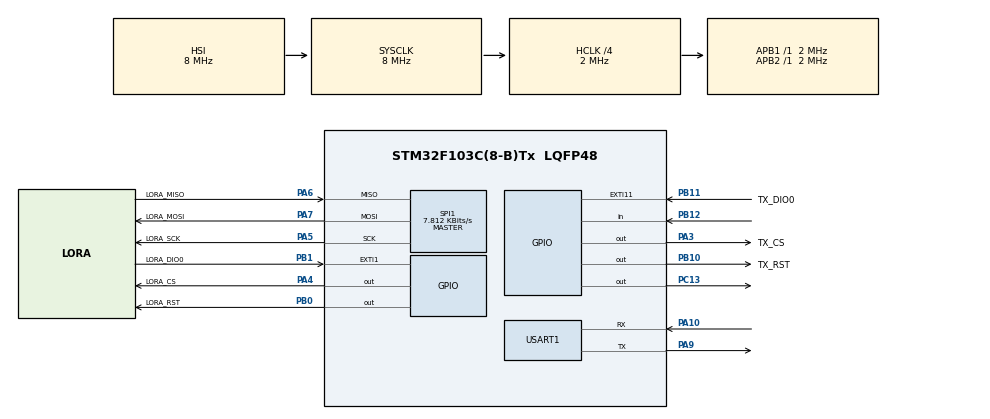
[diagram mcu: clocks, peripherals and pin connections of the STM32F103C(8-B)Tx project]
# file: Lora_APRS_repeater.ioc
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ADC1.Channel-1\#ChannelRegularConversion=ADC_CHANNEL_VREFINT
ADC1.EnableAnalogWatchDog=false
ADC1.NbrOfConversion=1
ADC1.NbrOfConversionFlag=1
ADC1.Rank-1\#ChannelRegularConversion=1
ADC1.SamplingTime-1\#ChannelRegularConversion=ADC_SAMPLETIME_239CYCLES_5
ADC1.master=1
IWDG.Prescaler=IWDG_PRESCALER_64
IWDG.Reload=2500
Mcu.Family=STM32F1
Mcu.Name=STM32F103C(8-B)Tx
Mcu.Package=LQFP48
NVIC.EXTI1_IRQn=true\:5\:0\:true\:false\:true\:true\:true\:true
NVIC.PriorityGroup=NVIC_PRIORITYGROUP_4
PA10.Mode=Asynchronous
PA10.Signal=USART1_RX
PA3.GPIO_Label=TX_CS
PA3.GPIO_Speed=GPIO_SPEED_FREQ_HIGH
PA3.PinState=GPIO_PIN_SET
PA3.Signal=GPIO_Output
PA4.GPIO_Label=LORA_CS
PA4.GPIO_PuPd=GPIO_NOPULL
PA4.GPIO_Speed=GPIO_SPEED_FREQ_HIGH
PA4.PinState=GPIO_PIN_SET
PA4.Signal=GPIO_Output
PA5.GPIO_Label=LORA_SCK
PA5.Mode=Full_Duplex_Master
PA5.Signal=SPI1_SCK
PA6.GPIO_Label=LORA_MISO
PA6.Mode=Full_Duplex_Master
PA6.Signal=SPI1_MISO
PA7.GPIO_Label=LORA_MOSI
PA7.Mode=Full_Duplex_Master
PA7.Signal=SPI1_MOSI
PA9.Mode=Asynchronous
PA9.Signal=USART1_TX
PB0.GPIO_Label=LORA_RST
PB0.PinState=GPIO_PIN_SET
PB0.Signal=GPIO_Output
PB1.GPIO_Label=LORA_DIO0
PB1.GPIO_ModeDefaultEXTI=GPIO_MODE_IT_RISING
PB1.Signal=GPXTI1
PB10.GPIO_Label=TX_RST
PB10.PinState=GPIO_PIN_SET
PB10.Signal=GPIO_Output
PB11.GPIO_Label=TX_DIO0
PB11.Signal=GPXTI11
PB12.GPIO_PuPd=GPIO_PULLUP
PB12.Signal=GPIO_Input
PC13-TAMPER-RTC.Signal=GPIO_Output
ProjectManager.HeapSize=0x200
ProjectManager.StackSize=0x400
ProjectManager.TargetToolchain=STM32CubeIDE
RCC.AHBCLKDivider=RCC_SYSCLK_DIV4
RCC.AHBFreq_Value=2000000
RCC.APB1Freq_Value=2000000
RCC.APB1TimFreq_Value=2000000
RCC.APB2Freq_Value=2000000
RCC.APB2TimFreq_Value=2000000
RCC.HCLKFreq_Value=2000000
RCC.SYSCLKFreq_VALUE=8000000
RCC.USBFreq_Value=8000000
RTC.Format=RTC_FORMAT_BIN
RTC.OutPut=RTC_OUTPUTSOURCE_NONE
SPI1.BaudRatePrescaler=SPI_BAUDRATEPRESCALER_256
SPI1.CalculateBaudRate=7.812 KBits/s
SPI1.Direction=SPI_DIRECTION_2LINES
SPI1.Mode=SPI_MODE_MASTER
SPI1.VirtualType=VM_MASTER
USART1.VirtualMode=VM_ASYNC
VP_ADC1_Vref_Input.Mode=IN-Vrefint
VP_IWDG_VS_IWDG.Mode=IWDG_Activate
VP_RTC_No_RTC_Output.Mode=RTC_OUT_NO
VP_RTC_VS_RTC_Activate.Mode=RTC_Enabled
VP_SYS_VS_ND.Mode=No_Debug
board=custom

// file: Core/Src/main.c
/* USER CODE BEGIN Header */
/**
  ******************************************************************************
  * @file           : main.c
  * @brief          : Main program body
  ******************************************************************************
  * @attention
  *
  * Copyright (c) 2026 STMicroelectronics.
  * All rights reserved.
  *
  * This software is licensed under terms that can be found in the LICENSE file
  * in the root directory of this software component.
  * If no LICENSE file comes with this software, it is provided AS-IS.
  *
  ******************************************************************************
  */
/* USER CODE END Header */
#include "main.h"

/* USER CODE BEGIN Includes */
#include <stdio.h>
#include <string.h>
#include <stdarg.h>
#include <stdint.h>
/* USER CODE END Includes */

ADC_HandleTypeDef hadc1;

IWDG_HandleTypeDef hiwdg;

RTC_HandleTypeDef hrtc;

SPI_HandleTypeDef hspi1;

UART_HandleTypeDef huart1;

/* USER CODE BEGIN PV */
// --- KONFIGURACJA SPRZĘTOWA (Hardcoded dla pewności) ---
// RX Module (RFM96) - podłączony do SPI1
#define RX_CS_PORT    GPIOA
#define RX_CS_PIN     GPIO_PIN_4
#define RX_RST_PORT   GPIOB
#define RX_RST_PIN    GPIO_PIN_0

// TX Module (RFM96) - podłączony do SPI1
#define TX_CS_PORT    GPIOA
#define TX_CS_PIN     GPIO_PIN_3
#define TX_RST_PORT   GPIOB
#define TX_RST_PIN    GPIO_PIN_10

// Debug & LED
#define DEBUG_PIN_PORT GPIOB
#define DEBUG_PIN      GPIO_PIN_12 // Zmiana na PB12 zgodnie z MX_GPIO_Init
#define LED_PORT       GPIOC
#define LED_PIN        GPIO_PIN_13

// --- PARAMETRY LORA ---
#define LORA_RX_FREQ    434855000
#define LORA_TX_FREQ    434955000
#define LORA_SF         9
#define LORA_BW_IDX     7         		// 125 kHz
#define LORA_CR         3         		// 4/7
#define TELEMETRY_INTERVAL 3600000 		// 1h
#define APRS_CALLSIGN   "SP7FM-1"
#define APRS_COORDS     "!5144.22N/01934.44E"

// --- SYSTEM ---
#define QUEUE_SIZE 5
#define MAX_PKT_LEN 256

typedef struct {
    uint8_t data[MAX_PKT_LEN];
    uint8_t len;
    uint8_t tx_counter;
} LoRaPacket;

uint16_t tx_reset_counter = 0;
uint32_t lastRebootTick = 0; 	// Przechowuje czas ostatniego restartu/startu
uint8_t reset_time = 6;     	// Co ilę godzin robić restart

LoRaPacket txQueue[QUEUE_SIZE];
uint8_t queueHead = 0;
uint8_t queueTail = 0;

uint32_t lastTelemetryTime = 0;
volatile uint8_t packetReceivedFlag = 0;

// Struktura pomocnicza modułu
typedef struct {
    GPIO_TypeDef* CS_Port;
    uint16_t      CS_Pin;
    GPIO_TypeDef* RST_Port;
    uint16_t      RST_Pin;
    uint32_t      Frequency;
} LoRa_Module;

LoRa_Module loraRX = { RX_CS_PORT, RX_CS_PIN, RX_RST_PORT, RX_RST_PIN, LORA_RX_FREQ };
LoRa_Module loraTX = { TX_CS_PORT, TX_CS_PIN, TX_RST_PORT, TX_RST_PIN, LORA_TX_FREQ };

/* USER CODE END PV */

void SystemClock_Config(void);
static void MX_GPIO_Init(void);
static void MX_SPI1_Init(void);
static void MX_USART1_UART_Init(void);
static void MX_ADC1_Init(void);
static void MX_IWDG_Init(void);
static void MX_RTC_Init(void);
/* USER CODE BEGIN PFP */
void LoRa_Init(LoRa_Module* mod);
void LoRa_SetMode(LoRa_Module* mod, uint8_t mode);
uint8_t LoRa_Send(LoRa_Module* mod, uint8_t* data, uint8_t len);
uint8_t LoRa_Receive(LoRa_Module* mod, uint8_t* buffer);
void Queue_Push(uint8_t* data, uint8_t len, uint8_t tx_counter);
int Queue_Pop(uint8_t* buffer, uint8_t* out_tx_counter);
void SendTelemetry(void);
void DebugPrint(const char *format, ...);
float GetInternalVoltage(void);
/* USER CODE END PFP */

/* USER CODE BEGIN 0 */

// Rejestry SX1278
#define REG_FIFO 0x00
#define REG_OP_MODE 0x01
#define REG_FRF_MSB 0x06
#define REG_FRF_MID 0x07
#define REG_FRF_LSB 0x08
#define REG_PA_CONFIG 0x09
#define REG_LNA 0x0C
#define REG_FIFO_ADDR_PTR 0x0D
#define REG_FIFO_TX_BASE_ADDR 0x0E
#define REG_FIFO_RX_BASE_ADDR 0x0F
#define REG_FIFO_RX_CURRENT_ADDR 0x10
#define REG_IRQ_FLAGS 0x12
#define REG_RX_NB_BYTES 0x13
#define REG_MODEM_CONFIG_1 0x1D
#define REG_MODEM_CONFIG_2 0x1E
#define REG_DIO_MAPPING_1 0x40

// Tryby pracy
#define MODE_LONG_RANGE_MODE 0x80
#define MODE_SLEEP 0x00
#define MODE_STDBY 0x01
#define MODE_TX 0x03
#define MODE_RX_CONTINUOUS 0x05

uint8_t LoRa_ReadReg(LoRa_Module* mod, uint8_t addr) {
    uint8_t txByte = addr & 0x7F;
    uint8_t rxByte = 0;
    HAL_GPIO_WritePin(mod->CS_Port, mod->CS_Pin, GPIO_PIN_RESET);
    HAL_SPI_Transmit(&hspi1, &txByte, 1, 100);
    HAL_SPI_Receive(&hspi1, &rxByte, 1, 100);
    HAL_GPIO_WritePin(mod->CS_Port, mod->CS_Pin, GPIO_PIN_SET);
    return rxByte;
}

void LoRa_WriteReg(LoRa_Module* mod, uint8_t addr, uint8_t val) {
    uint8_t data[2] = { addr | 0x80, val };
    HAL_GPIO_WritePin(mod->CS_Port, mod->CS_Pin, GPIO_PIN_RESET);
    HAL_SPI_Transmit(&hspi1, data, 2, 100);
    HAL_GPIO_WritePin(mod->CS_Port, mod->CS_Pin, GPIO_PIN_SET);
}

void LoRa_Init(LoRa_Module* mod) {
    // 0. Upewnij się, że CS jest wysoki przed startem
    HAL_GPIO_WritePin(mod->CS_Port, mod->CS_Pin, GPIO_PIN_SET);

    // 1. Reset sprzętowy (Hardware Reset)
    HAL_GPIO_WritePin(mod->RST_Port, mod->RST_Pin, GPIO_PIN_RESET);
    HAL_Delay(15); // Zwiększono nieco dla pewności stabilizacji napięcia
    HAL_GPIO_WritePin(mod->RST_Port, mod->RST_Pin, GPIO_PIN_SET);
    HAL_Delay(15);

    // 2. Wejście w tryb Sleep, aby odblokować dostęp do rejestrów LongRangeMode
    LoRa_SetMode(mod, MODE_SLEEP);
    LoRa_WriteReg(mod, REG_OP_MODE, MODE_LONG_RANGE_MODE | MODE_SLEEP);
    HAL_Delay(5);

    // 3. Konfiguracja częstotliwości (FRF)
    uint64_t frf = ((uint64_t)mod->Frequency << 19) / 32000000;
    LoRa_WriteReg(mod, REG_FRF_MSB, (uint8_t)(frf >> 16));
    LoRa_WriteReg(mod, REG_FRF_MID, (uint8_t)(frf >> 8)); // Użycie nazwy MID zamiast MSB+1
    LoRa_WriteReg(mod, REG_FRF_LSB, (uint8_t)(frf >> 0));

    // 4. Konfiguracja Modemu (BW, CR, SF)
    // BW=125kHz, CR=4/7, Explicit Header
    uint8_t config1 = (7 << 4) | (LORA_CR << 1);
    LoRa_WriteReg(mod, REG_MODEM_CONFIG_1, config1);

    // SF=9, CRC ON (0x04)
    LoRa_WriteReg(mod, REG_MODEM_CONFIG_2, (LORA_SF << 4) | 0x04);

    // 5. Konfiguracja mocy i wzmocnienia (LNA)
    if (mod->CS_Pin == RX_CS_PIN) { // Jeśli to moduł odbiorczy
        // LNA Gain: Max gain, Boost on (0x23 lub 0x20 | 0x03)
        LoRa_WriteReg(mod, REG_LNA, 0x23);
    } else { // Jeśli to nadajnik
    	LoRa_WriteReg(mod, 0x0B, 0x2B); // OCP (Over Current Protection) ustawione na 100mA
    	LoRa_WriteReg(mod, 0x4D, 0x84);	// 0x84 to tryb domyślny (do 17 dBm)
    									// 0x87 to tryb High Power (20 dBm)
    	// Max Power: PA_BOOST pin, 17dBm (0x8F) lub więcej przy PA_DAC 0xFF - pełna moc 100mW - 20dBm
    	LoRa_WriteReg(mod, REG_PA_CONFIG, 0x8F);
    }

    // 6. Konfiguracja FIFO
    LoRa_WriteReg(mod, REG_FIFO_TX_BASE_ADDR, 0);
    LoRa_WriteReg(mod, REG_FIFO_RX_BASE_ADDR, 0);

    // 7. Przejście do Standby (gotowość do pracy)
    LoRa_SetMode(mod, MODE_STDBY);
    HAL_Delay(5);

    DebugPrint("LORA: Init OK for CS Pin %d\r\n", mod->CS_Pin);
}

void LoRa_SetMode(LoRa_Module* mod, uint8_t mode) {
    LoRa_WriteReg(mod, REG_OP_MODE, MODE_LONG_RANGE_MODE | mode);
}

uint8_t LoRa_Send(LoRa_Module* mod, uint8_t* data, uint8_t len) {
    // 1. Wybudzamy radio (przejście ze SLEEP do STDBY)
    LoRa_SetMode(mod, MODE_STDBY);

    // !!! WAŻNE: Dajemy czas na ustabilizowanie się oscylatora (Warm-up)
    // Bez tego zapis do FIFO może się nie udać zaraz po wybudzeniu.
    HAL_Delay(2);

    // 2. Wypełniamy bufor
    LoRa_WriteReg(mod, REG_FIFO_ADDR_PTR, 0);
    for(int i=0; i<len; i++) {
        LoRa_WriteReg(mod, REG_FIFO, data[i]);
    }

    // 3. Rozpoczynamy nadawanie
    LoRa_WriteReg(mod, 0x22, len);
    LoRa_SetMode(mod, MODE_TX);

    // 4. Czekamy na koniec TX
    uint32_t start = HAL_GetTick();
    uint8_t tx_success = 0;
//    while((LoRa_ReadReg(mod, REG_IRQ_FLAGS) & 0x08) == 0) {
//        if(HAL_GetTick() - start > 2000) break;
//    }
    while(HAL_GetTick() - start < 2000) { // Timeout 2 sekundy
    	if(LoRa_ReadReg(mod, REG_IRQ_FLAGS) & 0x08) {
    		tx_success = 1; // Znaleziono flagę TxDone!
    		break;
		}
	}

    // 5. Czyścimy flagi
    LoRa_WriteReg(mod, REG_IRQ_FLAGS, 0xFF);

    // 6. Idziemy spać zamiast czuwać (zmiana STDBY -> SLEEP)
    LoRa_SetMode(mod, MODE_SLEEP);

    return tx_success; // Zwracamy wynik
}

uint8_t LoRa_Receive(LoRa_Module* mod, uint8_t* buffer) {
    uint8_t irq = LoRa_ReadReg(mod, REG_IRQ_FLAGS);
    if(irq & 0x40) { // RxDone
        if(!(irq & 0x20)) { // CRC OK
            uint8_t len = LoRa_ReadReg(mod, REG_RX_NB_BYTES);
            uint8_t currentAddr = LoRa_ReadReg(mod, REG_FIFO_RX_CURRENT_ADDR);
            LoRa_WriteReg(mod, REG_FIFO_ADDR_PTR, currentAddr);
            for(int i=0; i<len; i++) {
                buffer[i] = LoRa_ReadReg(mod, REG_FIFO);
            }
            LoRa_WriteReg(mod, REG_IRQ_FLAGS, 0xFF);
            return len;
        }
    }
    LoRa_WriteReg(mod, REG_IRQ_FLAGS, 0xFF);
    return 0;
}

void DebugPrint(const char *format, ...) {
    // Debug aktywny gdy PB12 zwarty do masy
    if(HAL_GPIO_ReadPin(DEBUG_PIN_PORT, DEBUG_PIN) == GPIO_PIN_RESET) {
        char buffer[128];
        va_list args;
        va_start(args, format);
        vsnprintf(buffer, sizeof(buffer), format, args);
        va_end(args);
        HAL_UART_Transmit(&huart1, (uint8_t*)buffer, strlen(buffer), 100);
    }
}

void Queue_Push(uint8_t* data, uint8_t len, uint8_t tx_counter) {
    uint8_t nextHead = (queueHead + 1) % QUEUE_SIZE;
    if(nextHead != queueTail) {
        memcpy(txQueue[queueHead].data, data, len);
        txQueue[queueHead].len = len;
        txQueue[queueHead].tx_counter = tx_counter;
        queueHead = nextHead;
        DebugPrint("QUEUE: Package added (%d B)\r\n", len);
    } else {
        DebugPrint("QUEUE: FULL!\r\n");
    }
}

int Queue_Pop(uint8_t* buffer, uint8_t* out_tx_counter) {
    if(queueHead == queueTail) return 0;

    int len = txQueue[queueTail].len;
    memcpy(buffer, txQueue[queueTail].data, len);

    // 2. Przypisujemy licznik do zmiennej wyjściowej
    if(out_tx_counter != NULL) {
        *out_tx_counter = txQueue[queueTail].tx_counter;
    }

    queueTail = (queueTail + 1) % QUEUE_SIZE;
    return len;
}

float GetInternalVoltage(void) {
    HAL_ADC_Start(&hadc1);
    if (HAL_ADC_PollForConversion(&hadc1, 100) == HAL_OK) {
        uint32_t adcVal = HAL_ADC_GetValue(&hadc1);
        if(adcVal == 0) return 0.0;
        // VREFINT typowo 1.20V
        return (1.20f * 4095.0f) / (float)adcVal;
    }
    return 0.0;
}

void SendTelemetry(void) {
    char packet[200]; // 128-> 200 zwiększam bufor dla bezpieczeństwa
    float voltage = GetInternalVoltage();

    // Format pełnej ramki LoRa APRS:
    // 1. Nagłówek LoRa: < (0x3C), 0xFF, 0x01
    // 2. Nagłówek AX.25: Źródło>Cel,Ścieżka:
    // 3. Dane APRS: !Lat/Lon#Komentarz
    // 4. TX reset counter
    sprintf(packet, "\x3c\xff\x01%s>APRS,WIDE1-1:%s#%s BAT:%.2fV R_CNT:%u", APRS_CALLSIGN, APRS_COORDS, APRS_CALLSIGN, voltage, tx_reset_counter);

    DebugPrint("TELEMETRY: %s\r\n", packet + 3); // +3 żeby nie wyświetlać krzaków w logu
    Queue_Push((uint8_t*)packet, strlen(packet), 1); // Wysyłamy całość (z krzakami)
}

// Przerwanie EXTI (dla RX DIO0 - PB1)
void HAL_GPIO_EXTI_Callback(uint16_t GPIO_Pin) {
    if(GPIO_Pin == GPIO_PIN_1) {
        packetReceivedFlag = 1;
    }
}

// Sprawdzenie czy radio żyje
uint8_t LoRa_IsAlive(LoRa_Module* mod) {
    // Odczytujemy rejestr wersji (zawsze powinien zwracać 0x12 dla SX127x)
    uint8_t version = LoRa_ReadReg(mod, 0x42);

    // Dodatkowo sprawdzamy, czy rejestr trybu nie zawiera niemożliwych wartości
    uint8_t mode = LoRa_ReadReg(mod, 0x01);

    if (version == 0x12 && mode != 0xFF) {
        return 1; // Radio żyje
    }
    return 0; // Radio nie odpowiada lub magistrala SPI "wisi"
}

// Funkcja do odczytu i inkrementacji licznika
void Update_Reset_Counter(void) {
    // 1. Włącz zasilanie modułu PWR i dostęp do rejestrów BKP
    __HAL_RCC_PWR_CLK_ENABLE();
    __HAL_RCC_BKP_CLK_ENABLE();
    HAL_PWR_EnableBkUpAccess();

    // 2. Odczytaj wartość z rejestru 1 (możesz użyć DR1 do DR10)
    // Rejestry BKP przechowują wartości 16-bitowe
    tx_reset_counter = HAL_RTCEx_BKUPRead(&hrtc, RTC_BKP_DR1);

    // 3. Jeśli to był reset od Watchdoga (IWDG), zwiększ licznik
    if (__HAL_RCC_GET_FLAG(RCC_FLAG_IWDGRST)) {
        tx_reset_counter++;
        HAL_RTCEx_BKUPWrite(&hrtc, RTC_BKP_DR1, tx_reset_counter);
    }

    // 4. Wyczyść flagi resetu, aby przy następnym uruchomieniu wiedzieć, co go wywołało
    __HAL_RCC_CLEAR_RESET_FLAGS();
}

/* USER CODE END 0 */

int main(void)
{

  /* MCU Configuration--------------------------------------------------------*/

  /* Reset of all peripherals, Initializes the Flash interface and the Systick. */
  HAL_Init();

  /* Configure the system clock */
  SystemClock_Config();

  /* Initialize all configured peripherals */
  MX_GPIO_Init();
  MX_SPI1_Init();
  MX_USART1_UART_Init();
  MX_ADC1_Init();
  MX_IWDG_Init();
  MX_RTC_Init();
  /* USER CODE BEGIN 2 */

  DebugPrint("SYS: Booting...\r\n");

  // Inicjalizacja RX (434.855 MHz)
  LoRa_Init(&loraRX);
  // Mapowanie DIO0 na RxDone (00)
  LoRa_WriteReg(&loraRX, REG_DIO_MAPPING_1, 0x00);
  LoRa_SetMode(&loraRX, MODE_RX_CONTINUOUS);
  DebugPrint("SYS: RX Init OK\r\n");

  // Inicjalizacja TX (434.955 MHz)
  LoRa_Init(&loraTX);
  LoRa_SetMode(&loraTX, MODE_SLEEP);
  DebugPrint("SYS: TX Init OK (Sleeping)\r\n");

  // Led na start
  // LED ON (PC13 Low), delay, LED OFF (PC13 High)
  HAL_GPIO_WritePin(LED_PORT, LED_PIN, GPIO_PIN_RESET);
  HAL_Delay(500);
  HAL_GPIO_WritePin(LED_PORT, LED_PIN, GPIO_PIN_SET);

  // Telemetria na start
  SendTelemetry();
  lastTelemetryTime = HAL_GetTick();

  /* USER CODE END 2 */

  /* Infinite loop */
  /* USER CODE BEGIN WHILE */
  while (1)
  {
	  // 1 - Testy wstępne

	  // A. Planowy restart co 'reset_time' godzin (zapobiega nieoczekiwanym "dryfom" systemu)
	  if ((reset_time != 0) && (HAL_GetTick() - lastRebootTick > (reset_time * 60 * 60 * 1000))) {
	      DebugPrint("SYS: Scheduled %d hour reboot...\r\n", reset_time);
	      HAL_Delay(100);
	      NVIC_SystemReset();
	  }

	  // B. Sprawdzenie stanu radiów (IsAlive)
	  uint8_t rxLive = (LoRa_ReadReg(&loraRX, 0x42) == 0x12);
	  uint8_t txLive = (LoRa_ReadReg(&loraTX, 0x42) == 0x12);

	  if (rxLive && txLive) {
	      // Jeśli oba radia odpowiadają przez SPI - karmimy psa (Watchdog 4s)
	      HAL_IWDG_Refresh(&hiwdg);
	  }
	  else {
	      // Coś zawisło! Próbujemy ratować sytuację przed twardym resetem IWDG.
	      if (!txLive) {
	          tx_reset_counter++;
	          HAL_RTCEx_BKUPWrite(&hrtc, RTC_BKP_DR1, tx_reset_counter);
	          DebugPrint("SYS: TX hang detected! Resetting TX radio...\r\n");

	          HAL_GPIO_WritePin(TX_RST_PORT, TX_RST_PIN, GPIO_PIN_RESET);
	          HAL_Delay(15);
	          HAL_GPIO_WritePin(TX_RST_PORT, TX_RST_PIN, GPIO_PIN_SET);
	          HAL_Delay(15);

	          LoRa_Init(&loraTX);
	          LoRa_SetMode(&loraTX, MODE_SLEEP);
	      }

	      if (!rxLive) {
	          DebugPrint("SYS: RX hang detected! Resetting RX radio...\r\n");

	          HAL_GPIO_WritePin(RX_RST_PORT, RX_RST_PIN, GPIO_PIN_RESET);
	          HAL_Delay(15);
	          HAL_GPIO_WritePin(RX_RST_PORT, RX_RST_PIN, GPIO_PIN_SET);
	          HAL_Delay(15);

	          LoRa_Init(&loraRX);
	          // RX wraca do trybu ciągłego nasłuchu
	          LoRa_SetMode(&loraRX, 0x05); // MODE_RX_CONTINUOUS
	      }

	      // Ostatnia szansa: jeśli po resecie radia "wstały", powiadom watchdoga, by uniknąć resetu całego MCU
	      if ((LoRa_ReadReg(&loraRX, 0x42) == 0x12) && (LoRa_ReadReg(&loraTX, 0x42) == 0x12)) {
	          HAL_IWDG_Refresh(&hiwdg);
	          DebugPrint("SYS: Radios recovered. System continues.\r\n");
	      }
	  }
	  /* --- KONIEC SEKCJI BEZPIECZEŃSTWA --- */

	// 2. Obsługa odbioru
    if(packetReceivedFlag) {
		packetReceivedFlag = 0;
		uint8_t rxBuffer[MAX_PKT_LEN];
		uint8_t len = LoRa_Receive(&loraRX, rxBuffer);

		if(len > 0) {
			DebugPrint("RX: Recv %d bytes\r\n", len);

			// --- DEBUG: Podgląd odebranych danych ---
			// Sprawdzamy czy Debug Switch jest włączony (zwarty do masy)
			if(HAL_GPIO_ReadPin(DEBUG_PIN_PORT, DEBUG_PIN) == GPIO_PIN_RESET) {

				// 1. Wyświetlanie jako tekst (dla APRS)
				char debugMsg[MAX_PKT_LEN + 1];
				int safeLen = (len < MAX_PKT_LEN) ? len : MAX_PKT_LEN;
				memcpy(debugMsg, rxBuffer, safeLen);
				debugMsg[safeLen] = '\0'; // Bezpiecznik stringa
				DebugPrint("RX CONTENT (TXT): %s\r\n", debugMsg);

				// 2. Wyświetlanie jako HEX (gdyby tekst był krzakami)
				char hexBuf[10];
				DebugPrint("RX HEX: ");
				for(int i=0; i<safeLen; i++) {
					sprintf(hexBuf, "%02X ", rxBuffer[i]);
					HAL_UART_Transmit(&huart1, (uint8_t*)hexBuf, strlen(hexBuf), 10);
				}
				DebugPrint("\r\n");
			}

            // nowy pakiet w kolejce do wysłania
			Queue_Push(rxBuffer, len, 1);
		}

		// Restart RX Continuous
		LoRa_SetMode(&loraRX, MODE_RX_CONTINUOUS);
	}

    // 3. Obsługa nadawania
    if(queueHead != queueTail) {
		uint8_t txBuffer[MAX_PKT_LEN];
		uint8_t msg_tx_counter = 1;
		int len = Queue_Pop(txBuffer, &msg_tx_counter);

		if(len > 0) {
			DebugPrint("TX: Preparing to send...\r\n");
			DebugPrint("TX msg. counter: %d\r\n", msg_tx_counter);

			// --- NOWE: Podgląd treści ramki APRS w Debugu ---
			// Sprawdzamy pin ręcznie, aby nie tracić czasu procesora na memcpy, gdy debug jest wyłączony
			if(HAL_GPIO_ReadPin(DEBUG_PIN_PORT, DEBUG_PIN) == GPIO_PIN_RESET) {
				char debugMsg[MAX_PKT_LEN + 1]; // +1 na znak końca stringa

				// Zabezpieczenie przed przepełnieniem
				int safeLen = (len < MAX_PKT_LEN) ? len : MAX_PKT_LEN;

				memcpy(debugMsg, txBuffer, safeLen);
				debugMsg[safeLen] = '\0'; // Dodajemy terminator null

				DebugPrint("APRS CONTENT: %s\r\n", debugMsg);
			}
			// -----------------------------------------------

			// LED ON (PC13 Low)
			HAL_GPIO_WritePin(LED_PORT, LED_PIN, GPIO_PIN_RESET);

			//LoRa_Send(&loraTX, txBuffer, len);
			if (LoRa_Send(&loraTX, txBuffer, len)) {
			    DebugPrint("TX: Success\r\n");
			} else {
				if (msg_tx_counter < 3) {
					DebugPrint("TX: FAILED! Re-queuing...\r\n");
					msg_tx_counter++;
					Queue_Push(txBuffer, len, msg_tx_counter);
				} else {
					DebugPrint("TX: FAILED! %d time, forgetting...\r\n", msg_tx_counter);
				}
			}

			// LED OFF (PC13 High)
			HAL_GPIO_WritePin(LED_PORT, LED_PIN, GPIO_PIN_SET);
			DebugPrint("TX: Done.\r\n");
		}
	}

    // 4. Telemetria
    if(HAL_GetTick() - lastTelemetryTime > TELEMETRY_INTERVAL) {
        SendTelemetry();
        lastTelemetryTime = HAL_GetTick();
    }

    // 5. Sleep (tylko jeśli nic nie robimy)
    if(queueHead == queueTail && !packetReceivedFlag) {
        // Zatrzymanie Tick, aby nie budzić się co 1ms, ale EXTI LoRa obudzi MCU
        // Uwaga: IWDG działa niezależnie, więc MCU i tak zresetuje się jeśli za długo pośpi.
        // IWDG Reload jest ustawiony na ~4 sekundy, więc musimy się budzić częściej.
        // Bezpieczniej nie używać SuspendTick przy IWDG bez dokładnego wyliczania.
        // Używamy zwykłego WFI - budzi nas SysTick (1ms) lub LoRa EXTI.
        HAL_PWR_EnterSLEEPMode(PWR_MAINREGULATOR_ON, PWR_SLEEPENTRY_WFI);
    }

    /* USER CODE END WHILE */

  }
}

void SystemClock_Config(void)
{
  RCC_OscInitTypeDef RCC_OscInitStruct = {0};
  RCC_ClkInitTypeDef RCC_ClkInitStruct = {0};
  RCC_PeriphCLKInitTypeDef PeriphClkInit = {0};

  /** Initializes the RCC Oscillators according to the specified parameters
  * in the RCC_OscInitTypeDef structure.
  */
  RCC_OscInitStruct.OscillatorType = RCC_OSCILLATORTYPE_HSI|RCC_OSCILLATORTYPE_LSI;
  RCC_OscInitStruct.HSIState = RCC_HSI_ON;
  RCC_OscInitStruct.HSICalibrationValue = RCC_HSICALIBRATION_DEFAULT;
  RCC_OscInitStruct.LSIState = RCC_LSI_ON;
  RCC_OscInitStruct.PLL.PLLState = RCC_PLL_NONE;
  if (HAL_RCC_OscConfig(&RCC_OscInitStruct) != HAL_OK)
  {
    Error_Handler();
  }

  /** Initializes the CPU, AHB and APB buses clocks
  */
  RCC_ClkInitStruct.ClockType = RCC_CLOCKTYPE_HCLK|RCC_CLOCKTYPE_SYSCLK
                              |RCC_CLOCKTYPE_PCLK1|RCC_CLOCKTYPE_PCLK2;
  RCC_ClkInitStruct.SYSCLKSource = RCC_SYSCLKSOURCE_HSI;
  RCC_ClkInitStruct.AHBCLKDivider = RCC_SYSCLK_DIV4;
  RCC_ClkInitStruct.APB1CLKDivider = RCC_HCLK_DIV1;
  RCC_ClkInitStruct.APB2CLKDivider = RCC_HCLK_DIV1;

  if (HAL_RCC_ClockConfig(&RCC_ClkInitStruct, FLASH_LATENCY_0) != HAL_OK)
  {
    Error_Handler();
  }
  PeriphClkInit.PeriphClockSelection = RCC_PERIPHCLK_RTC|RCC_PERIPHCLK_ADC;
  PeriphClkInit.RTCClockSelection = RCC_RTCCLKSOURCE_LSI;
  PeriphClkInit.AdcClockSelection = RCC_ADCPCLK2_DIV2;
  if (HAL_RCCEx_PeriphCLKConfig(&PeriphClkInit) != HAL_OK)
  {
    Error_Handler();
  }
}

static void MX_ADC1_Init(void)
{

  ADC_ChannelConfTypeDef sConfig = {0};

  /** Common config
  */
  hadc1.Instance = ADC1;
  hadc1.Init.ScanConvMode = ADC_SCAN_DISABLE;
  hadc1.Init.ContinuousConvMode = DISABLE;
  hadc1.Init.DiscontinuousConvMode = DISABLE;
  hadc1.Init.ExternalTrigConv = ADC_SOFTWARE_START;
  hadc1.Init.DataAlign = ADC_DATAALIGN_RIGHT;
  hadc1.Init.NbrOfConversion = 1;
  if (HAL_ADC_Init(&hadc1) != HAL_OK)
  {
    Error_Handler();
  }

  /** Configure Regular Channel
  */
  sConfig.Channel = ADC_CHANNEL_VREFINT;
  sConfig.Rank = ADC_REGULAR_RANK_1;
  sConfig.SamplingTime = ADC_SAMPLETIME_239CYCLES_5;
  if (HAL_ADC_ConfigChannel(&hadc1, &sConfig) != HAL_OK)
  {
    Error_Handler();
  }

}

static void MX_IWDG_Init(void)
{

  hiwdg.Instance = IWDG;
  hiwdg.Init.Prescaler = IWDG_PRESCALER_64;
  hiwdg.Init.Reload = 2500;
  if (HAL_IWDG_Init(&hiwdg) != HAL_OK)
  {
    Error_Handler();
  }

}

static void MX_RTC_Init(void)
{

  RTC_TimeTypeDef sTime = {0};
  RTC_DateTypeDef DateToUpdate = {0};

  /** Initialize RTC Only
  */
  hrtc.Instance = RTC;
  hrtc.Init.AsynchPrediv = RTC_AUTO_1_SECOND;
  hrtc.Init.OutPut = RTC_OUTPUTSOURCE_NONE;
  if (HAL_RTC_Init(&hrtc) != HAL_OK)
  {
    Error_Handler();
  }

  /** Initialize RTC and set the Time and Date
  */
  sTime.Hours = 0;
  sTime.Minutes = 0;
  sTime.Seconds = 0;

  if (HAL_RTC_SetTime(&hrtc, &sTime, RTC_FORMAT_BIN) != HAL_OK)
  {
    Error_Handler();
  }
  DateToUpdate.WeekDay = RTC_WEEKDAY_MONDAY;
  DateToUpdate.Month = RTC_MONTH_JANUARY;
  DateToUpdate.Date = 1;
  DateToUpdate.Year = 0;

  if (HAL_RTC_SetDate(&hrtc, &DateToUpdate, RTC_FORMAT_BIN) != HAL_OK)
  {
    Error_Handler();
  }

}

static void MX_SPI1_Init(void)
{

  /* SPI1 parameter configuration*/
  hspi1.Instance = SPI1;
  hspi1.Init.Mode = SPI_MODE_MASTER;
  hspi1.Init.Direction = SPI_DIRECTION_2LINES;
  hspi1.Init.DataSize = SPI_DATASIZE_8BIT;
  hspi1.Init.CLKPolarity = SPI_POLARITY_LOW;
  hspi1.Init.CLKPhase = SPI_PHASE_1EDGE;
  hspi1.Init.NSS = SPI_NSS_SOFT;
  hspi1.Init.BaudRatePrescaler = SPI_BAUDRATEPRESCALER_256;
  hspi1.Init.FirstBit = SPI_FIRSTBIT_MSB;
  hspi1.Init.TIMode = SPI_TIMODE_DISABLE;
  hspi1.Init.CRCCalculation = SPI_CRCCALCULATION_DISABLE;
  hspi1.Init.CRCPolynomial = 10;
  if (HAL_SPI_Init(&hspi1) != HAL_OK)
  {
    Error_Handler();
  }

}

static void MX_USART1_UART_Init(void)
{

  huart1.Instance = USART1;
  huart1.Init.BaudRate = 115200;
  huart1.Init.WordLength = UART_WORDLENGTH_8B;
  huart1.Init.StopBits = UART_STOPBITS_1;
  huart1.Init.Parity = UART_PARITY_NONE;
  huart1.Init.Mode = UART_MODE_TX_RX;
  huart1.Init.HwFlowCtl = UART_HWCONTROL_NONE;
  huart1.Init.OverSampling = UART_OVERSAMPLING_16;
  if (HAL_UART_Init(&huart1) != HAL_OK)
  {
    Error_Handler();
  }

}

static void MX_GPIO_Init(void)
{
  GPIO_InitTypeDef GPIO_InitStruct = {0};

  /* GPIO Ports Clock Enable */
  __HAL_RCC_GPIOC_CLK_ENABLE();
  __HAL_RCC_GPIOA_CLK_ENABLE();
  __HAL_RCC_GPIOB_CLK_ENABLE();

  /*Configure GPIO pin Output Level */
  HAL_GPIO_WritePin(GPIOC, GPIO_PIN_13, GPIO_PIN_RESET);

  /*Configure GPIO pin Output Level */
  HAL_GPIO_WritePin(GPIOA, TX_CS_Pin|LORA_CS_Pin, GPIO_PIN_SET);

  /*Configure GPIO pin Output Level */
  HAL_GPIO_WritePin(GPIOB, LORA_RST_Pin|TX_RST_Pin, GPIO_PIN_SET);

  /*Configure GPIO pin : PC13 */
  GPIO_InitStruct.Pin = GPIO_PIN_13;
  GPIO_InitStruct.Mode = GPIO_MODE_OUTPUT_PP;
  GPIO_InitStruct.Pull = GPIO_NOPULL;
  GPIO_InitStruct.Speed = GPIO_SPEED_FREQ_LOW;
  HAL_GPIO_Init(GPIOC, &GPIO_InitStruct);

  /*Configure GPIO pins : TX_CS_Pin LORA_CS_Pin */
  GPIO_InitStruct.Pin = TX_CS_Pin|LORA_CS_Pin;
  GPIO_InitStruct.Mode = GPIO_MODE_OUTPUT_PP;
  GPIO_InitStruct.Pull = GPIO_NOPULL;
  GPIO_InitStruct.Speed = GPIO_SPEED_FREQ_HIGH;
  HAL_GPIO_Init(GPIOA, &GPIO_InitStruct);

  /*Configure GPIO pins : LORA_RST_Pin TX_RST_Pin */
  GPIO_InitStruct.Pin = LORA_RST_Pin|TX_RST_Pin;
  GPIO_InitStruct.Mode = GPIO_MODE_OUTPUT_PP;
  GPIO_InitStruct.Pull = GPIO_NOPULL;
  GPIO_InitStruct.Speed = GPIO_SPEED_FREQ_LOW;
  HAL_GPIO_Init(GPIOB, &GPIO_InitStruct);

  /*Configure GPIO pins : LORA_DIO0_Pin TX_DIO0_Pin */
  GPIO_InitStruct.Pin = LORA_DIO0_Pin|TX_DIO0_Pin;
  GPIO_InitStruct.Mode = GPIO_MODE_IT_RISING;
  GPIO_InitStruct.Pull = GPIO_NOPULL;
  HAL_GPIO_Init(GPIOB, &GPIO_InitStruct);

  /*Configure GPIO pin : PB12 */
  GPIO_InitStruct.Pin = GPIO_PIN_12;
  GPIO_InitStruct.Mode = GPIO_MODE_INPUT;
  GPIO_InitStruct.Pull = GPIO_PULLUP;
  HAL_GPIO_Init(GPIOB, &GPIO_InitStruct);

  /* EXTI interrupt init*/
  HAL_NVIC_SetPriority(EXTI1_IRQn, 5, 0);
  HAL_NVIC_EnableIRQ(EXTI1_IRQn);

}

void Error_Handler(void)
{
  __disable_irq();
  while (1)
  {
  }
}
